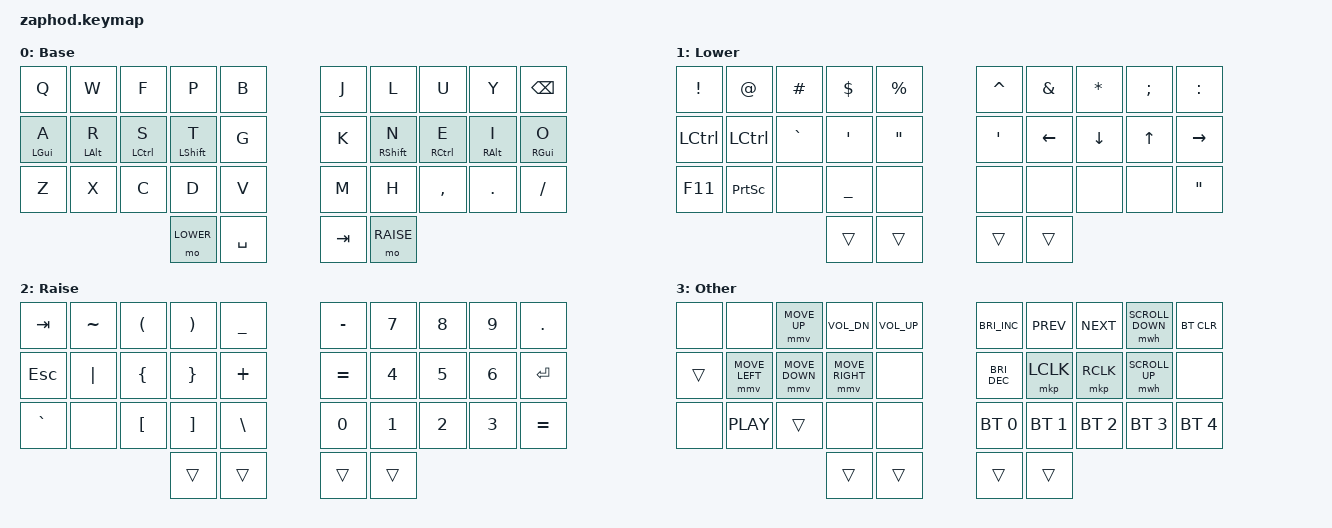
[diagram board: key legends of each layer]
#include <behaviors.dtsi>
#include <dt-bindings/zmk/keys.h>
#include <dt-bindings/zmk/bt.h>
#include <dt-bindings/zmk/outputs.h>
#include <dt-bindings/zmk/mouse.h>

#define U_MOUSE_MOVE_MAX 1250
#define U_MOUSE_MOVE_EXPONENT 1
#define U_MOUSE_MOVE_TIME 1500
#define U_MOUSE_MOVE_DELAY 0

#define DEFAULT 0
#define LOWER   1
#define RAISE   2
#define ADJUST  3

// Using layer taps on thumbs, having quick tap as well helps w/ repeating space/backspace
&lt { quick_tap_ms = <200>; };

/ {
   conditional_layers {
        compatible = "zmk,conditional-layers";
        tri_layer {
            if-layers = <1 2>;
            then-layer = <3>;
        };
    };

    behaviors {
        hm: homerow_mods {
            compatible = "zmk,behavior-hold-tap";
            label = "homerow mods";
            #binding-cells = <2>;
            tapping_term_ms = <160>;
            flavor = "tap-preferred";
            bindings = <&kp>, <&kp>;
        };
    };

    keymap {
        compatible = "zmk,keymap";

        default_layer {
            label = "Base";
            bindings = <
                &kp Q       &kp W       &kp F        &kp P        &kp B         &kp J        &kp L        &kp U        &kp Y        &kp BSPC
                &hm LGUI A  &hm LALT R  &hm LCTL S   &hm LSHFT T  &kp G         &kp K        &hm RSHFT N  &hm RCTL E   &hm RALT I   &hm RGUI O
                &kp Z       &kp X       &kp C        &kp D        &kp V         &kp M        &kp H        &kp COMMA    &kp DOT      &kp FSLH
                                                     &mo LOWER    &kp SPC       &kp TAB      &mo RAISE
            >;
        };


    lower_layer {
      label = "Lower";
            bindings = <
                &kp EXCL   &kp AT      &kp HASH     &kp DOLLAR   &kp PRCNT     &kp CARET    &kp AMPS     &kp STAR     &kp SEMI     &kp COLON
                &kp LCTRL  &kp LCTRL   &kp GRAVE    &kp APOS     &kp DQT       &kp SQT      &kp LEFT     &kp DOWN     &kp UP       &kp RIGHT
                &kp F11    &kp PSCRN   &none        &kp UNDER    &none         &none        &none        &none        &none        &kp DQT
                                                    &trans       &trans        &trans       &trans
           >;
        };

    raise_layer {
      label = "Raise";
            bindings = <
                &kp TAB    &kp TILDE   &kp LPAR     &kp RPAR     &kp UNDER     &kp MINUS    &kp N7       &kp N8       &kp N9       &kp DOT
                &kp ESC    &kp PIPE    &kp LBRC     &kp RBRC     &kp PLUS      &kp EQUAL    &kp N4       &kp N5       &kp N6       &kp RET
                &kp GRAVE  &none       &kp LBKT     &kp RBKT     &kp BSLH      &kp N0       &kp N1       &kp N2       &kp N3       &kp EQUAL
                                                    &trans       &trans        &trans       &trans
            >;
        };

        adjust_layer {
    label = "Other";
            bindings = <
                &none      &none          &mmv MOVE_UP    &kp C_VOL_DN     &kp C_VOL_UP    &kp C_BRI_INC &kp C_PREV   &kp C_NEXT   &mwh SCROLL_DOWN  &bt BT_CLR
                &trans     &mmv MOVE_LEFT &mmv MOVE_DOWN  &mmv MOVE_RIGHT  &none           &kp C_BRI_DEC &mkp LCLK    &mkp RCLK    &mwh SCROLL_UP    &none
                &none      &kp C_PLAY     &trans          &none            &none           &bt BT_SEL 0  &bt BT_SEL 1 &bt BT_SEL 2 &bt BT_SEL 3      &bt BT_SEL 4
                                                          &trans           &trans          &trans        &trans
            >;
	};
    };
};
